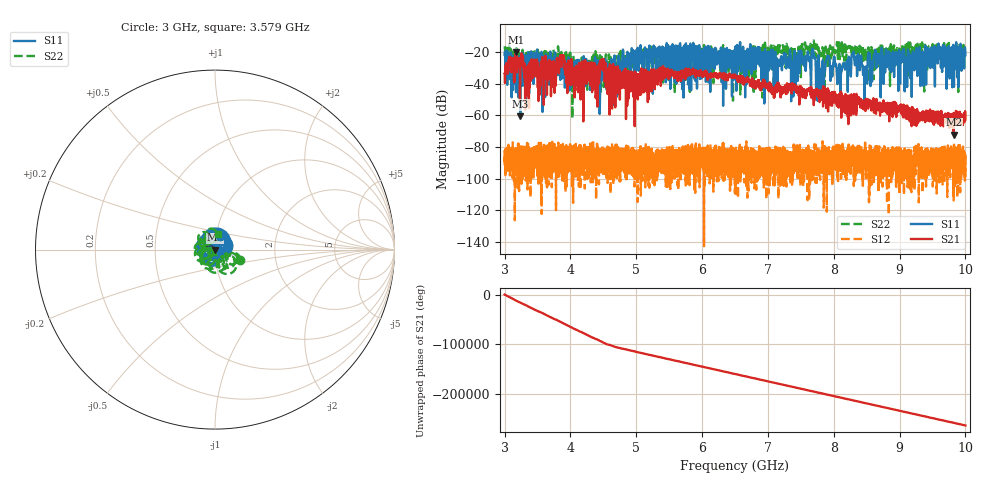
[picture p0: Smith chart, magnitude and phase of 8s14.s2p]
!Agilent Technologies,E8363B,MY43030572,A.06.04.32
!Agilent E8363B: A.06.04.32
!Date: Tuesday, June 07, 2011 09:04:27
!Correction: S11(Full 2 Port(1,2)) S21(Full 2 Port(1,2)) S12(Full 2 Port(1,2)) S22(Full 2 Port(1,2))
!S2P File: Measurements: S11, S21, S12, S22:
# Hz S  dB  R 50
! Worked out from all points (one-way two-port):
!   6401 points, 3 GHz to 10 GHz, reference 50 ohm
!   highest |S21| = -20.39 dB at 3.171 GHz (marker M1); lowest = -72.3 dB at 9.822 GHz (marker M2)
!   lowest |S11| = -60.7 dB at 3.237 GHz (marker M3), VSWR 1.00, Z = 50 - j0.0829 ohm
!   |S11| at or under -10 dB: start of sweep to end of sweep
!   |S22| runs from -61.9 to -12.8 dB; largest |S21 - S12| = 0.096
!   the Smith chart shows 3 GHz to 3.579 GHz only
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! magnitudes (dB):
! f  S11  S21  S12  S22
! 3 GHz  -21.8  -33.5  -91.6  -16.5
! 3.171 GHz  -31.7  -20.4  -89.2  -22.8
! 3.237 GHz  -60.7  -39.4  -85.3  -33.1
! 3.346 GHz  -33.4  -31.5  -87.6  -24.6
! 3.866 GHz  -31.7  -28.0  -82.2  -21.4
! 4.167 GHz  -29.6  -32.6  -88.8  -24.8
! 4.327 GHz  -36.4  -32.5  -95.9  -24.1
! 4.398 GHz  -35.3  -30.9  -86.3  -25.4
! 4.469 GHz  -30.7  -25.8  -84.1  -25.5
! 4.529 GHz  -25.2  -29.1  -87.1  -26.8
! 5 GHz  -19.3  -36.3  -90.7  -24.4
! 5.334 GHz  -18.4  -36.2  -82.2  -25.4
! 6.5 GHz  -22.6  -35.9  -90.1  -27.2
! 7.667 GHz  -20.7  -46.3  -85.6  -16.9
! 7.818 GHz  -36.7  -49.1  -86.9  -22.0
! 7.908 GHz  -22.4  -45.6  -86.5  -28.8
! 8.082 GHz  -28.1  -48.7  -88.4  -15.4
! 8.306 GHz  -21.4  -46.6  -85.6  -17.9
! 8.475 GHz  -34.3  -54.1  -86.8  -20.9
! 8.834 GHz  -20.5  -58.1  -85.8  -21.4
! 9.822 GHz  -20.6  -72.3  -113.8  -22.0
! 10 GHz  -22.1  -62.8  -85.1  -21.6
